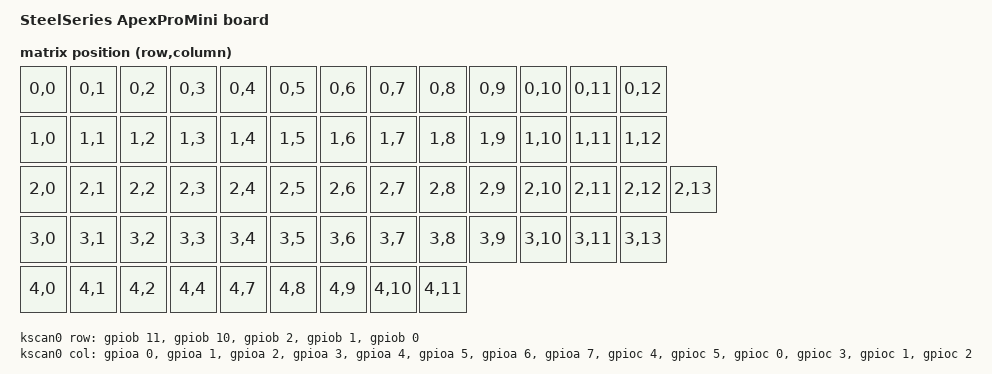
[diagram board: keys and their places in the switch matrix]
/*
 * Copyright (c) 2025 Eve Redero
 *
 * SPDX-License-Identifier: Apache-2.0
 */

/dts-v1/;
#include <st/l4/stm32l412XB.dtsi>
#include <st/l4/stm32l412rbtx-pinctrl.dtsi>
#include <zephyr/dt-bindings/input/input-event-codes.h>

#include <dt-bindings/zmk/matrix_transform.h>
#include "apexpromini-layouts.dtsi"

/ {
    model = "SteelSeries ApexProMini board";
    compatible = "steelseries,apexpromini", "st,stm32l412";

    chosen {
        zephyr,console = &usbuart;
        zephyr,shell-uart = &usbuart;
        zephyr,sram = &sram0;
        zephyr,flash = &flash0;
        zmk,kscan = &kscan0;
        zmk,physical-layout = &physical_layout0;
/*        zmk,underglow = &led_strip;*/
    };

        kscan0: kscan {
            compatible = "zmk,kscan-gpio-matrix";
                    diode-direction = "row2col";
            poll-period-ms = <3>;
             row-gpios
                 = <&gpiob 11 (GPIO_ACTIVE_HIGH | GPIO_PULL_DOWN)>
                 , <&gpiob 10 (GPIO_ACTIVE_HIGH | GPIO_PULL_DOWN)>
                 , <&gpiob 2  (GPIO_ACTIVE_HIGH | GPIO_PULL_DOWN)>
                 , <&gpiob 1  (GPIO_ACTIVE_HIGH | GPIO_PULL_DOWN)>
                 , <&gpiob 0  (GPIO_ACTIVE_HIGH | GPIO_PULL_DOWN)>
                 ;
             col-gpios
                 = <&gpioa 0  GPIO_ACTIVE_HIGH>
                 , <&gpioa 1  GPIO_ACTIVE_HIGH>
                 , <&gpioa 2  GPIO_ACTIVE_HIGH>
                 , <&gpioa 3  GPIO_ACTIVE_HIGH>
                 , <&gpioa 4  GPIO_ACTIVE_HIGH>
                 , <&gpioa 5  GPIO_ACTIVE_HIGH>
                 , <&gpioa 6  GPIO_ACTIVE_HIGH>
                 , <&gpioa 7  GPIO_ACTIVE_HIGH>
                 , <&gpioc 4  GPIO_ACTIVE_HIGH>
                 , <&gpioc 5  GPIO_ACTIVE_HIGH>
                 , <&gpioc 0  GPIO_ACTIVE_HIGH>
                 , <&gpioc 3  GPIO_ACTIVE_HIGH>
                 , <&gpioc 1  GPIO_ACTIVE_HIGH>
                 , <&gpioc 2  GPIO_ACTIVE_HIGH>
                 ;
        };

    leds: leds {
        compatible = "gpio-leds";
        dbg_led: led_0 {
            gpios = <&gpioc 12 GPIO_ACTIVE_HIGH>;
            label = "User dbg tp";
        };
    };

    aliases {
        led0 = &dbg_led;
        volt-sensor0 = &vref;
        volt-sensor1 = &vbat;
    };

layout_grid_transform: keymap_transform_0 {
        compatible = "zmk,matrix-transform";
        columns = <14>;
        rows = <5>;
        map = <
RC(0,0) RC(0,1) RC(0,2) RC(0,3) RC(0,4) RC(0,5) RC(0,6) RC(0,7) RC(0,8) RC(0,9) RC(0,10) RC(0,11) RC(0,12)
RC(1,0) RC(1,1) RC(1,2) RC(1,3) RC(1,4) RC(1,5) RC(1,6) RC(1,7) RC(1,8) RC(1,9) RC(1,10) RC(1,11) RC(1,12)
RC(2,0) RC(2,1) RC(2,2) RC(2,3) RC(2,4) RC(2,5) RC(2,6) RC(2,7) RC(2,8) RC(2,9) RC(2,10) RC(2,11) RC(2,12) RC(2,13)
RC(3,0) RC(3,1) RC(3,2) RC(3,3) RC(3,4) RC(3,5) RC(3,6) RC(3,7) RC(3,8) RC(3,9) RC(3,10) RC(3,11)  RC(3,13)
RC(4,0) RC(4,1) RC(4,2)  RC(4,4)   RC(4,7) RC(4,8) RC(4,9) RC(4,10) RC(4,11) 
        >;
    };
};

&clk_lsi {
    status = "okay";
};

&clk_hsi {
    status = "okay";
};

&clk_hsi48 {
    status = "okay";
};

&pll {
    div-m = <1>;
    mul-n = <10>;
    div-q = <2>;
    div-r = <2>;
    clocks = <&clk_hsi>;
    status = "okay";
};

&rcc {
    clocks = <&pll>;
    clock-frequency = <DT_FREQ_M(80)>;
    ahb-prescaler = <1>;
    apb1-prescaler = <1>;
    apb2-prescaler = <1>;
};

&usart1 {
    pinctrl-0 = <&usart1_tx_pb6 &usart1_rx_pb7>;
    pinctrl-names = "default";
    current-speed = <115200>;
    status = "okay";
};

&spi1 {
    pinctrl-0 = <&spi1_sck_pb3 &spi1_miso_pb4 &spi1_mosi_pb5>;
    pinctrl-names = "default";
    cs-gpios = <&gpioa 15 (GPIO_ACTIVE_LOW | GPIO_PULL_UP)>;
    status = "okay";

    fm25q128: fm25q128c@0 {
        compatible = "jedec,spi-nor";
        reg = <0>;
        spi-max-frequency = <10000000>;
        size = <0xfa0000>;
        has-dpd;
        t-enter-dpd = <20000>;
        t-exit-dpd = <100000>;
        jedec-id = [a1 40 18];
    };
};

&spi2 {
    pinctrl-0 = <&spi2_sck_pb13 &spi2_miso_pb14 &spi2_mosi_pb15>;
    pinctrl-names = "default";
    cs-gpios = <&gpiob 12 (GPIO_ACTIVE_LOW | GPIO_PULL_UP)>;
    status = "okay";

    /* TODO issi,is31fl3743b driver */
    /* led_strip: is31fl3743b@0 {
        compatible = "issi,is31fl3743b";
        reg = <0>;
        spi-max-frequency = <4000000>;

        chain-length = <62>;
        spi-one-frame = <0x70>;
        spi-zero-frame = <0x40>;
        color-mapping = <LED_COLOR_ID_GREEN
                         LED_COLOR_ID_RED
                         LED_COLOR_ID_BLUE>;
    };*/
};

&timers2 {
    status = "okay";

    pwm2: pwm {
        status = "okay";
        pinctrl-0 = <&tim2_ch1_pa0>;
        pinctrl-names = "default";
    };
};

&rtc {
    clocks = <&rcc STM32_CLOCK_BUS_APB1 0x10000000>,
         <&rcc STM32_SRC_LSI RTC_SEL(2)>;
    status = "okay";
};

&flash0 {
    partitions {
        compatible = "fixed-partitions";
        #address-cells = <1>;
        #size-cells = <1>;

        /*
         * Reserve the final 16 KiB for file system partition
         * 128 KiB --> 131702 bytes
         * 16 KiB  --> 16384 bytes
         * Start Addr = 131702 - 16384 --> (HEX) 0x0001c276
         * Size = 16384 --> (HEX) 0x00004000
         */
        storage_partition: partition@1c276 {
            label = "storage";
            reg = <0x0001c276 DT_SIZE_K(16)>;
        };
    };
};

&usb_fs_phy {
    status = "okay";
};

zephyr_udc0: &usb {
    status = "okay";
    pinctrl-0 = <&usb_dm_pa11 &usb_dp_pa12 &usb_noe_pa13>;
    pinctrl-names = "default";

    usbuart: cdc_acm_uart0 {
        compatible = "zephyr,cdc-acm-uart";
    };
};

&vref {
    status = "okay";
};

&vbat {
    status = "okay";
};

&physical_layout0 {
    transform = <&layout_grid_transform>;
};
